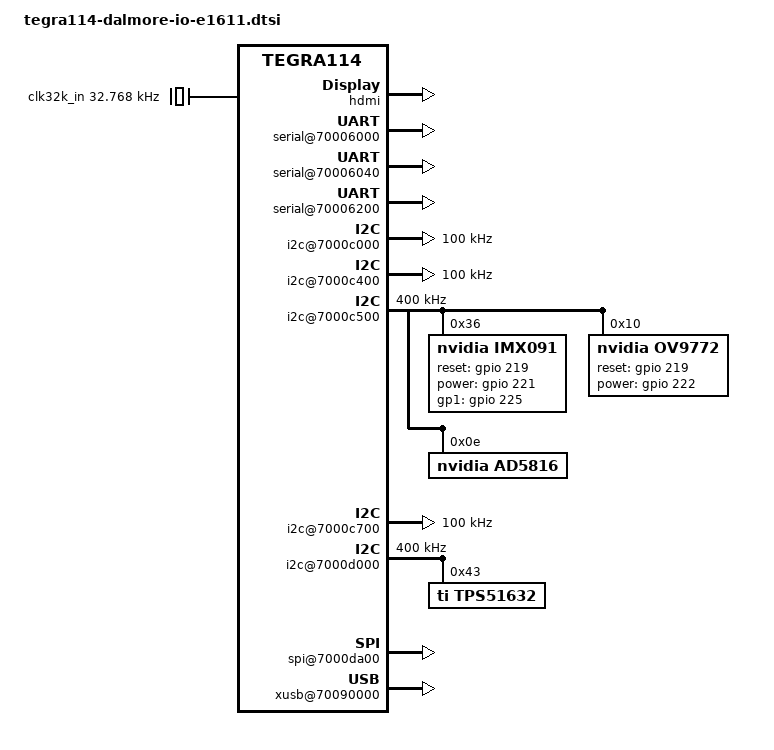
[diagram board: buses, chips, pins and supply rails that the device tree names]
/include/ "tegra114.dtsi"

/ {
	host1x {
		hdmi {
			status = "okay";
		};
	};

	pinmux {
		status = "okay";
	};

	serial@70006000 {
		compatible = "nvidia,tegra114-hsuart";
		status = "okay";
	};

	serial@70006040 {
		compatible = "nvidia,tegra114-hsuart";
		status = "okay";
	};

	serial@70006200 {
		compatible = "nvidia,tegra114-hsuart";
		status = "okay";
	};

	i2c@7000c000 {
		status = "okay";
		clock-frequency = <100000>;
	};

	i2c@7000c400 {
		status = "okay";
		clock-frequency = <100000>;
	};

	i2c@7000c500 {
		status = "okay";
		clock-frequency = <400000>;

		imx091@36 {
			compatible = "nvidia,imx091";
			reg = <0x36>;

			nvidia,num = <0>;
			nvidia,sync = <0>;
			nvidia,dev_name = "camera";

			/* imx091 gpios */
			reset-gpios = <&gpio 219 0>; /* gpio PBB3 */
			power-gpios = <&gpio 221 0>; /* gpio PBB5 */
			gp1-gpios = <&gpio 225 0>; /* gpio PCC1 */

			/* imx091 caps */
			nvidia,identifier = "IMX091";
			nvidia,sensor_nvc_interface = <3>;
			nvidia,pixel_types = <0x100>;
			nvidia,orientation = <0>;
			nvidia,direction = <0>;
			nvidia,initial_clock_rate_khz = <6000>;
			nvidia,h_sync_edge = <0>;
			nvidia,v_sync_edge = <0>;
			nvidia,mclk_on_vgp0 = <0>;
			nvidia,csi_port = <0>;
			nvidia,data_lanes = <4>;
			nvidia,virtual_channel_id = <0>;
			nvidia,discontinuous_clk_mode = <1>;
			nvidia,cil_threshold_settle = <0x0>;
			nvidia,min_blank_time_width = <16>;
			nvidia,min_blank_time_height = <16>;
			nvidia,preferred_mode_index = <0>;
			nvidia,external_clock_khz_0 = <24000>;
			nvidia,clock_multiplier_0 = <850000>;
			nvidia,external_clock_khz_1 = <0>;
			nvidia,clock_multiplier_1 = <0>;

			/* flash caps */
			nvidia,sdo_trigger_enabled;
			nvidia,adjustable_flash_timing;

			status = "okay";

		};

		ov9772@10 {
			compatible = "nvidia,ov9772";
			reg = <0x10>;
			nvidia,num = <1>;

			nvidia,vcm_vdd; /* extra regulator needed */

			/* ov9772 gpios */
			reset-gpios = <&gpio 219 0>; /* gpio PBB3 */
			power-gpios = <&gpio 222 0>; /* gpio PBB6 */

			nvidia,dev_name = "camera";
			status = "okay";
		};

		ad5816@0E {
			compatible = "nvidia,ad5816";
			reg = <0x0E>;
			nvidia,cfg = <0>;
			nvidia,num = <0>;
			nvidia,sync = <0>;
			nvidia,dev_name = "focuser";
			status = "okay";
		};
	};

	i2c@7000c700 {
		status = "okay";
		clock-frequency = <100000>;
	};

	i2c@7000d000 {
		status = "okay";
		clock-frequency = <400000>;

		tps51632 {
			compatible = "ti,tps51632";
			reg = <0x43>;
			regulator-name = "vdd_cpu";
			regulator-min-microvolt = <500000>;
			regulator-max-microvolt = <1520000>;
			regulator-boot-on;
			regulator-always-on;
			regulator-ramp-delay = <6000>;
		};
	};

	spi@7000da00 {
		status = "okay";
		spi-max-frequency = <25000000>;
		nvidia,dma-request-selector = <&apbdma 0>;
	};

	camera {
		status = "okay";
	};

	pmc {
		status = "okay";
		nvidia,invert-interrupt;
		nvidia,suspend-mode = <0>;
		nvidia,cpu-pwr-good-time = <500>;
		nvidia,cpu-pwr-off-time = <300>;
		nvidia,core-pwr-good-time = <3845 3845>;
		nvidia,core-pwr-off-time = <2000>;
		nvidia,core-power-req-active-high;
		nvidia,sys-clock-req-active-high;
	};

	sdhci@78000000 {
		status = "disabled";
	};

	sdhci@78000400 {
		cd-gpios = <&gpio 170 0>; /* gpio PV2 */
		tap-delay = <3>;
		trim-delay = <3>;
		ddr-clk-limit = <41000000>;
		base-clk = <208000000>;
		bus-width = <4>;
		status = "disabled";
	};

	sdhci@78000600 {
		tap-delay = <5>;
		trim-delay = <3>;
		ddr-clk-limit = <41000000>;
		base-clk = <104000000>;
		mmc-ocr-mask = <0>;
		bus-width = <8>;
		built-in;
		status = "disabled";
		non-removable;
	};

	clocks {
		compatible = "simple-bus";
		#address-cells = <1>;
		#size-cells = <0>;

		clk32k_in: clock {
			compatible = "fixed-clock";
			reg=<0>;
			#clock-cells = <0>;
			clock-frequency = <32768>;
		};

	};

	xusb@70090000 {
		/* nvidia,uses_external_pmic;
		nvidia,gpio_controls_muxed_ss_lanes; */
		nvidia,gpio_ss1_sata = <0>;
		nvidia,portmap = <0x301>; /* SSP0, USB2P0, USB2P1 */
		nvidia,ss_portmap = <0x1>; /* SSP0 on USB2P1 */
		nvidia,lane_owner = <0>; /* NULL */
		nvidia,ulpicap = <0>; /* No ulpi support. can we remove */
		nvidia,supply_utmi_vbuses = "usb_vbus0", "usb_vbus1", "usb_vbus2";
		nvidia,supply_s3p3v = "hvdd_usb";
		nvidia,supply_s1p8v = "avdd_usb_pll";
		nvidia,supply_vddio_hsic = "vddio_hsic";
		nvidia,supply_s1p05v = "avddio_usb";
		status = "okay";
	};
};
